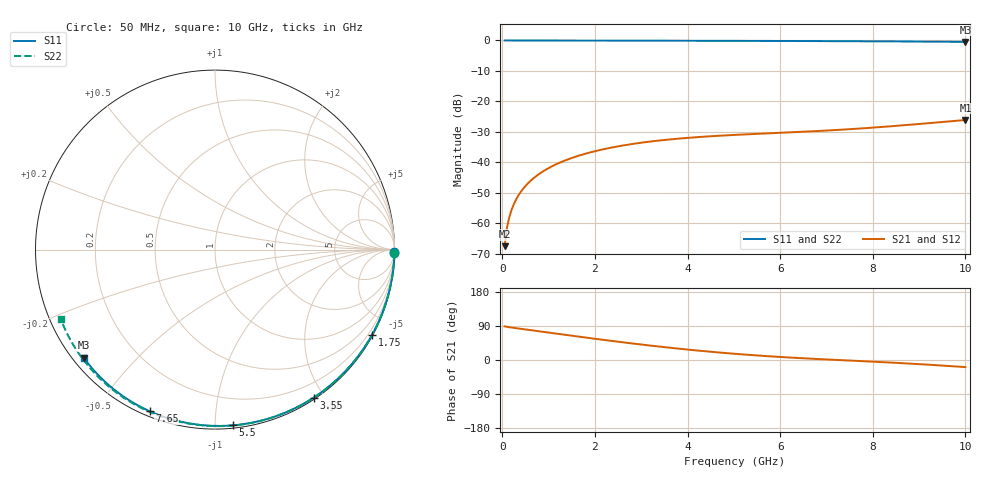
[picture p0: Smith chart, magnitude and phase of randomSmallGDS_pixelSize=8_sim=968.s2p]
! freq	dB(S11)	phase(S11)	dB(S12)	phase(S12)
!  dB(S21)	phase(S21)	dB(S22)	phase(S22)
!S-par simulation data
#  GHz  S  DB  R 50
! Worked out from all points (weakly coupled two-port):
!   200 points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, 50 MHz to 10 GHz, reference 50 ohm
!   highest |S21| = -26.09 dB at 10 GHz (marker M1); lowest = -67.5 dB at 50 MHz (marker M2)
!   lowest |S11| = -0.5 dB at 10 GHz (marker M3), VSWR 37.02, Z = 1.52 - j17.9 ohm
!   |S11| at or under -10 dB: nowhere
!   |S22| runs from -0.5 to 0.0 dB; largest |S21 - S12| = 0
!   S11 on the Smith chart (normalised r, x): 50 MHz: open; 1.75 GHz: 0.04, -3.93; 3.55 GHz: 0.02, -1.87; 5.5 GHz: 0.02, -1.11; 7.65 GHz: 0.02, -0.67; 10 GHz: 0.03, -0.36
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0.05  -0.00 -0.8  -67.47 88.7  -67.47 88.7  -0.00 -0.9
0.1  -0.00 -1.7  -61.49 87.5  -61.49 87.5  -0.00 -1.9
0.15  -0.00 -2.5  -58.02 86.5  -58.02 86.5  -0.00 -2.8
0.2  -0.00 -3.3  -55.57 85.6  -55.57 85.6  -0.00 -3.7
0.25  -0.00 -4.1  -53.66 84.8  -53.66 84.8  -0.00 -4.6
0.35  -0.00 -5.8  -50.79 83.1  -50.79 83.1  -0.00 -6.5
0.5  -0.01 -8.3  -47.74 80.7  -47.74 80.7  -0.01 -9.2
0.7  -0.01 -11.6  -44.87 77.4  -44.87 77.4  -0.01 -12.9
1  -0.02 -16.5  -41.87 72.4  -41.87 72.4  -0.02 -18.3
1.35  -0.03 -22.1  -39.39 66.6  -39.39 66.6  -0.03 -24.6
1.75  -0.04 -28.5  -37.34 60.0  -37.34 60.0  -0.04 -31.8
2.5  -0.05 -40.4  -34.72 48.2  -34.72 48.2  -0.06 -44.9
3.4  -0.07 -54.1  -32.80 35.3  -32.80 35.3  -0.08 -60.1
3.55  -0.08 -56.4  -32.56 33.3  -32.56 33.3  -0.09 -62.6
4.3  -0.10 -67.4  -31.62 24.0  -31.62 24.0  -0.11 -74.6
5.05  -0.12 -78.0  -30.95 16.1  -30.95 16.1  -0.13 -86.3
5.5  -0.14 -84.2  -30.63 12.0  -30.63 12.0  -0.15 -93.1
6.7  -0.19 -100.0  -29.79 3.2  -29.79 3.2  -0.22 -110.5
7.65  -0.25 -112.1  -28.96 -2.3  -28.96 -2.3  -0.28 -123.8
8.35  -0.31 -120.7  -28.20 -6.5  -28.20 -6.5  -0.34 -133.3
9.2  -0.38 -131.0  -27.14 -12.4  -27.14 -12.4  -0.42 -144.9
10  -0.47 -140.6  -26.09 -18.7  -26.09 -18.7  -0.52 -155.9
